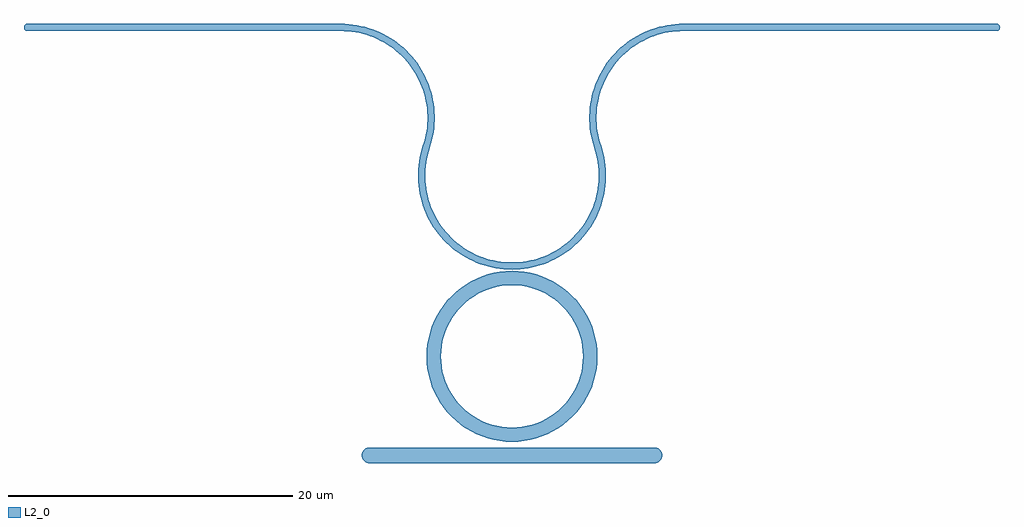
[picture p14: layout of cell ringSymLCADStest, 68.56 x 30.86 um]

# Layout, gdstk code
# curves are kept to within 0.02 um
import gdstk
lib = gdstk.Library(unit=1e-6, precision=1e-09)
def R(c, l, rs):  # rectangles x0, y0, x1, y1
    for r in rs: c.add(gdstk.rectangle(r[:2], r[2:], *l))
def P(c, l, *ps):  # polygons
    for p in ps: c.add(gdstk.Polygon(p, *l))
L2_0 = (2, 0)

ringsymlcadstest = lib.new_cell('ringSymLCADStest')
R(ringsymlcadstest, L2_0, [(-20,-27.5,0,-26.4)])
P(ringsymlcadstest, L2_0, [(-10,-26),(-10.854,-25.939),(-11.69,-25.757),(-12.492,-25.458),(-13.312,-25),(-9.643,-24.987),(-8.937,-24.886),(-8.591,-24.797),(-7.923,-24.548),(-7.297,-24.206),(-7.004,-24.003),(-6.464,-23.536),(-5.997,-22.996),(-5.794,-22.703),(-5.452,-22.077),(-5.203,-21.409),(-5.051,-20.712),(-5,-20),(-5.013,-19.643),(-5.114,-18.937),(-5.315,-18.253),(-5.452,-17.923),(-5.794,-17.297),(-5.997,-17.004),(-6.464,-16.464),(-7.004,-15.997),(-7.297,-15.794),(-7.923,-15.452),(-8.591,-15.203),(-9.288,-15.051),(-10,-15),(-10.712,-15.051),(-11.063,-15.114),(-11.747,-15.315),(-12.077,-15.452),(-12.703,-15.794),(-13.274,-16.221),(-13.536,-16.464),(-14.003,-17.004),(-14.388,-17.604),(-14.685,-18.253),(-14.886,-18.937),(-14.949,-19.288),(-15,-20),(-14.949,-20.712),(-14.886,-21.063),(-14.685,-21.747),(-14.388,-22.396),(-14.003,-22.996),(-13.536,-23.536),(-13.274,-23.779),(-12.703,-24.206),(-12.077,-24.548),(-11.747,-24.685),(-11.063,-24.886),(-10.712,-24.949),(-10,-25),(-13.312,-25),(-13.929,-24.534),(-14.243,-24.243),(-14.803,-23.596),(-15.048,-23.244),(-15.458,-22.492),(-15.622,-22.097),(-15.863,-21.275),(-15.985,-20.428),(-16,-20),(-15.939,-19.146),(-15.863,-18.725),(-15.622,-17.903),(-15.458,-17.508),(-15.048,-16.756),(-14.803,-16.404),(-14.243,-15.757),(-13.596,-15.197),(-13.244,-14.952),(-12.492,-14.542),(-12.097,-14.378),(-11.275,-14.137),(-10.854,-14.061),(-10,-14),(-9.146,-14.061),(-8.725,-14.137),(-7.903,-14.378),(-7.508,-14.542),(-6.756,-14.952),(-6.404,-15.197),(-5.757,-15.757),(-5.197,-16.404),(-4.952,-16.756),(-4.542,-17.508),(-4.378,-17.903),(-4.137,-18.725),(-4.061,-19.146),(-4,-20),(-4.061,-20.854),(-4.137,-21.275),(-4.378,-22.097),(-4.542,-22.492),(-4.952,-23.244),(-5.197,-23.596),(-5.757,-24.243),(-6.404,-24.803),(-6.756,-25.048),(-7.508,-25.458),(-7.903,-25.622),(-8.725,-25.863),(-9.146,-25.939)],
  [(-10,-13.9),(-10.851,-13.845),(-11.688,-13.681),(-12.496,-13.41),(-13.263,-13.037),(-13.976,-12.568),(-14.622,-12.011),(-15.191,-11.376),(-15.673,-10.673),(-16.061,-9.913),(-16.347,-9.11),(-16.479,-8.557),(-16.587,-7.711),(-16.598,-7.142),(-16.523,-6.292),(-16.412,-5.735),(-16.05,-4.427),(-15.946,-3.646),(-15.934,-3.12),(-15.966,-2.595),(-16.044,-2.075),(-16.166,-1.564),(-16.332,-1.065),(-16.66,-0.348),(-16.928,0.103),(-17.402,0.734),(-17.761,1.118),(-18.151,1.469),(-18.571,1.786),(-19.248,2.19),(-19.725,2.41),(-20.473,2.66),(-20.986,2.773),(-21.77,2.858),(-44.032,2.863),(-44.032,3.363),(-21.748,3.357),(-21.181,3.308),(-20.345,3.144),(-19.536,2.873),(-19.019,2.635),(-18.287,2.198),(-17.833,1.855),(-17.41,1.475),(-17.022,1.059),(-16.671,0.612),(-16.219,-0.112),(-15.865,-0.887),(-15.685,-1.427),(-15.553,-1.98),(-15.469,-2.543),(-15.434,-3.11),(-15.447,-3.679),(-15.559,-4.524),(-15.926,-5.853),(-16.029,-6.369),(-16.086,-6.891),(-16.099,-7.417),(-16.033,-8.202),(-15.933,-8.718),(-15.7,-9.471),(-15.373,-10.188),(-14.956,-10.857),(-14.456,-11.466),(-13.881,-12.006),(-13.242,-12.467),(-12.549,-12.842),(-12.062,-13.041),(-11.56,-13.197),(-10.787,-13.349),(-10,-13.4),(-9.213,-13.349),(-8.44,-13.197),(-7.938,-13.041),(-7.451,-12.842),(-6.758,-12.467),(-6.119,-12.006),(-5.544,-11.466),(-5.044,-10.857),(-4.627,-10.188),(-4.3,-9.471),(-4.067,-8.718),(-3.967,-8.202),(-3.901,-7.417),(-3.914,-6.891),(-3.971,-6.369),(-4.074,-5.853),(-4.441,-4.524),(-4.553,-3.679),(-4.566,-3.11),(-4.531,-2.543),(-4.447,-1.98),(-4.315,-1.427),(-4.135,-0.887),(-3.781,-0.112),(-3.329,0.612),(-2.978,1.059),(-2.59,1.475),(-2.167,1.855),(-1.713,2.198),(-0.981,2.635),(-0.464,2.873),(0.345,3.144),(1.181,3.308),(1.748,3.357),(24.032,3.363),(24.032,2.863),(1.77,2.858),(0.986,2.773),(0.473,2.66),(-0.275,2.41),(-0.752,2.19),(-1.429,1.786),(-1.849,1.469),(-2.239,1.118),(-2.598,0.734),(-3.072,0.103),(-3.34,-0.348),(-3.668,-1.065),(-3.834,-1.564),(-3.956,-2.075),(-4.034,-2.595),(-4.066,-3.12),(-4.054,-3.646),(-3.95,-4.427),(-3.588,-5.735),(-3.477,-6.292),(-3.402,-7.142),(-3.413,-7.711),(-3.521,-8.557),(-3.653,-9.11),(-3.939,-9.913),(-4.327,-10.673),(-4.809,-11.376),(-5.378,-12.011),(-6.024,-12.568),(-6.737,-13.037),(-7.504,-13.41),(-8.312,-13.681),(-9.149,-13.845)],
  [(-44.032,2.863),(-44.13,2.883),(-44.209,2.936),(-44.263,3.016),(-44.282,3.113),(-44.263,3.21),(-44.209,3.29),(-44.13,3.344),(-44.032,3.363)],
  [(24.032,2.863),(24.032,3.363),(24.13,3.344),(24.209,3.29),(24.263,3.21),(24.282,3.113),(24.263,3.016),(24.209,2.936),(24.13,2.883)],
  [(0,-27.5),(0,-26.4),(0.214,-26.443),(0.389,-26.561),(0.507,-26.736),(0.55,-26.95),(0.507,-27.164),(0.389,-27.339),(0.214,-27.457)],
  [(-20,-27.5),(-20.214,-27.457),(-20.389,-27.339),(-20.507,-27.164),(-20.55,-26.95),(-20.507,-26.736),(-20.389,-26.561),(-20.214,-26.443),(-20,-26.4)])

lib.write_gds('ringSymLCADStest.gds')
